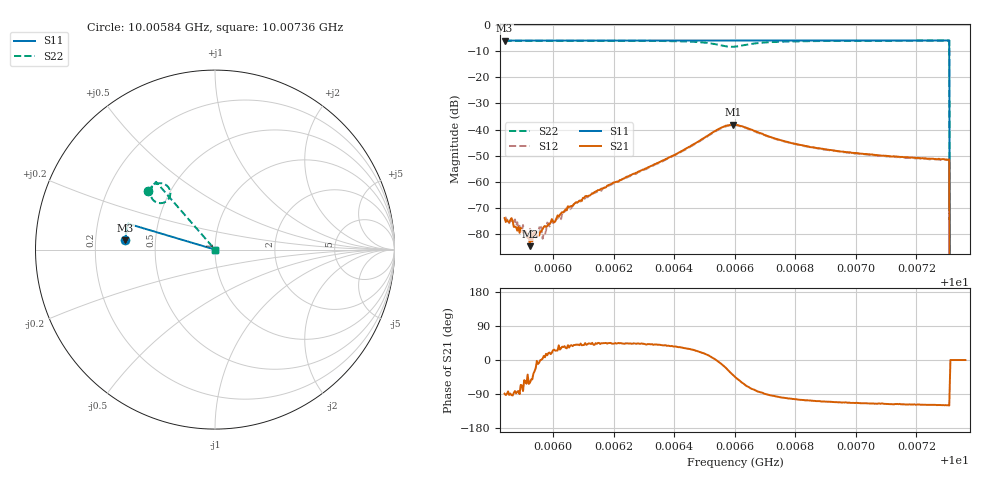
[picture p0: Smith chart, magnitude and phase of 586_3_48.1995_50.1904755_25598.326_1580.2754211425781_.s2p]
#  HZ  S  RI  R  50.00
! Rohde & Schwarz Vector Network Analyzer
! Rohde-Schwarz,ZNB20-2Port,1311601062101988,3.16
! Created: UTC 3/20/2024, 12:02:18 PM
! freq[Hz]  re:S11  im:S11  re:S21  im:S21  re:S12  im:S12  re:S22  im:S22
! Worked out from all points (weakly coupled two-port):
!   401 points, 10.00584 GHz to 10.00736 GHz, reference 50 ohm
!   highest |S21| = -38.10 dB at 10.00659 GHz (marker M1); lowest = -84.6 dB at 10.00592 GHz (marker M2)
!   lowest |S11| = -6.0 dB at 10.00584 GHz (marker M3), VSWR 3.02, Z = 16.6 + j2.26 ohm
!   |S11| at or under -10 dB: 10.00731 GHz to end of sweep
!   |S22| runs from - to -6.0 dB; largest |S21 - S12| = 0.00099
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1.000584e10  -0.4994 0.0508  3.78e-06 -0.000203  -3.26e-05 -0.000188  -0.3758 0.3264
1.0005859e10  -0.4994 0.0521  5.35e-06 -0.000187  5.2e-05 -0.000172  -0.3749 0.3275
1.0005875e10  -0.4994 0.053  1.92e-05 -0.000138  3.88e-05 -0.000188  -0.3741 0.3285
1.0005913e10  -0.4992 0.0555  4.69e-05 -9.05e-05  2.83e-05 -8.13e-05  -0.3721 0.3308
1.0005924e10  -0.4992 0.0563  2.95e-05 -5.1e-05  7.57e-05 -0.000101  -0.3715 0.3315
1.0005943e10  -0.499 0.0574  9.96e-05 -3.92e-05  8.16e-05 -2.73e-05  -0.3704 0.3328
1.0005954e10  -0.499 0.0582  9.33e-05 -1.13e-05  0.000132 -3.27e-06  -0.3697 0.3335
1.000597e10  -0.4988 0.0593  0.000135 2.55e-05  9.78e-05 3.7e-05  -0.3688 0.3345
1.0005989e10  -0.4987 0.0604  0.000144 5.18e-05  0.000136 3.3e-05  -0.368 0.3357
1.0006042e10  -0.4986 0.0638  0.000253 0.000156  0.000204 0.000191  -0.3645 0.3393
1.0006095e10  -0.4982 0.0674  0.000338 0.000273  0.000293 0.000325  -0.3609 0.343
1.000635e10  -0.496 0.084  0.00179 0.00153  0.00166 0.00155  -0.3338 0.3633
1.0006506e10  -0.4941 0.0942  0.0071 0.0019  0.00682 0.00216  -0.2764 0.3623
1.0006559e10  -0.4929 0.0972  0.0108 -0.0024  0.0107 -0.00175  -0.2487 0.3162
1.0006593e10  -0.4925 0.0988  0.00971 -0.00777  0.00986 -0.00699  -0.269 0.271
1.0006601e10  -0.4926 0.0993  0.00877 -0.00868  0.00922 -0.00792  -0.2787 0.2648
1.0006685e10  -0.4925 0.1042  0.000696 -0.0085  0.00111 -0.00824  -0.3525 0.2874
1.0006856e10  -0.4905 0.1155  -0.00137 -0.00439  -0.00117 -0.00438  -0.3553 0.3384
1.0007111e10  -0.487 0.1317  -0.00137 -0.00277  -0.00121 -0.0028  -0.3395 0.3648
1.0007301e10  -0.4841 0.1437  -0.00131 -0.00231  -0.00115 -0.00235  -0.3289 0.3769
1.000732e10  0 0  0 0  0 0  0 0
1.0007361e10  0 0  0 0  0 0  0 0
